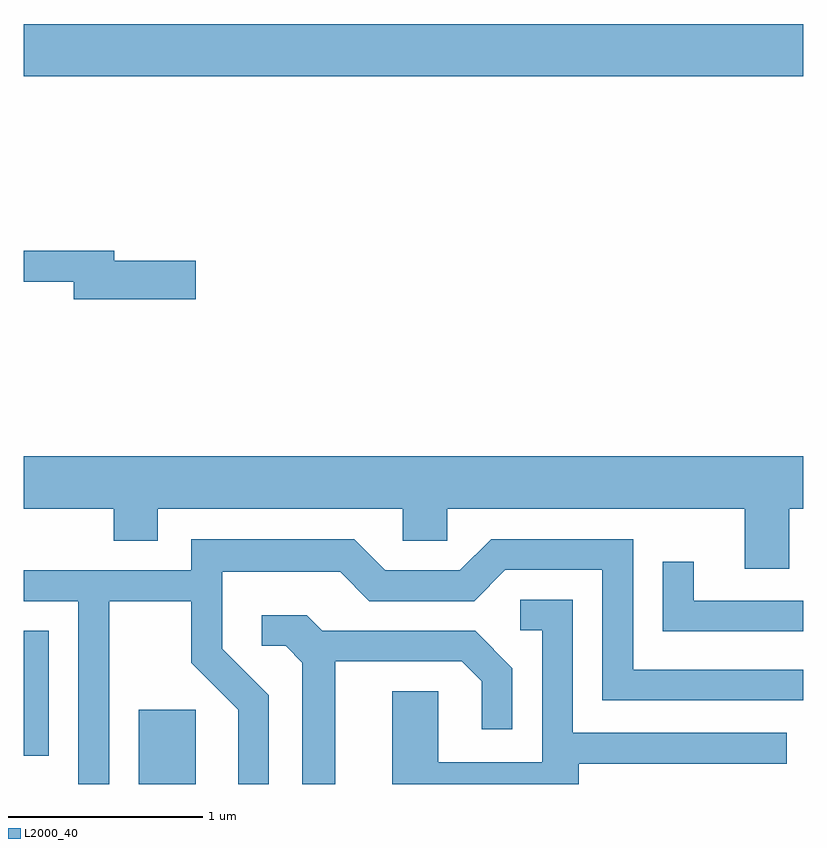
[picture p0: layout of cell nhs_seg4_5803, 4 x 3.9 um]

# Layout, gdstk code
import gdstk
lib = gdstk.Library(unit=1e-6, precision=1e-09)
def R(c, l, rs):  # rectangles x0, y0, x1, y1
    for r in rs: c.add(gdstk.rectangle(r[:2], r[2:], *l))
def P(c, l, *ps):  # polygons
    for p in ps: c.add(gdstk.Polygon(p, *l))
L2000_40 = (2000, 40)

nhs_seg4_5803 = lib.new_cell('nhs_seg4_5803')
R(nhs_seg4_5803, L2000_40, [(356.201,1299.982,356.494,1300.364), (355.611,1300.126,355.739,1300.769), (355.611,1303.616,359.611,1303.884)])
P(nhs_seg4_5803, L2000_40, [(356.494,1302.669),(356.074,1302.669),(356.074,1302.719),(355.611,1302.719),(355.611,1302.561),(355.866,1302.561),(355.866,1302.471),(356.494,1302.471)],
  [(359.539,1301.396),(359.611,1301.396),(359.611,1301.664),(355.611,1301.664),(355.611,1301.396),(356.071,1301.396),(356.071,1301.231),(356.299,1301.231),(356.299,1301.396),(357.556,1301.396),(357.556,1301.231),(357.784,1301.231),(357.784,1301.396),(359.311,1301.396),(359.311,1301.086),(359.539,1301.086)],
  [(356.049,1300.921),(356.471,1300.921),(356.471,1300.604),(356.711,1300.364),(356.711,1299.982),(356.869,1299.982),(356.869,1300.437),(356.629,1300.677),(356.629,1301.071),(357.234,1301.071),(357.384,1300.921),(357.922,1300.921),(358.082,1301.081),(358.581,1301.081),(358.581,1300.411),(359.611,1300.411),(359.611,1300.569),(358.739,1300.569),(358.739,1301.239),(358.009,1301.239),(357.849,1301.079),(357.467,1301.079),(357.307,1301.239),(356.471,1301.239),(356.471,1301.079),(355.611,1301.079),(355.611,1300.921),(355.891,1300.921),(355.891,1299.982),(356.049,1299.982)],
  [(359.611,1300.924),(359.049,1300.924),(359.049,1301.123),(358.891,1301.123),(358.891,1300.766),(359.611,1300.766)],
  [(358.459,1300.086),(359.528,1300.086),(359.528,1300.244),(358.429,1300.244),(358.429,1300.929),(358.158,1300.929),(358.158,1300.771),(358.271,1300.771),(358.271,1300.094),(357.739,1300.094),(357.739,1300.459),(357.501,1300.459),(357.501,1299.982),(358.459,1299.982)],
  [(357.209,1300.611),(357.859,1300.611),(357.961,1300.509),(357.961,1300.263),(358.119,1300.263),(358.119,1300.577),(357.927,1300.769),(357.142,1300.769),(357.062,1300.849),(356.833,1300.849),(356.833,1300.691),(356.954,1300.691),(357.041,1300.604),(357.041,1299.982),(357.209,1299.982)])

lib.write_gds('nhs_seg4_5803.gds')
